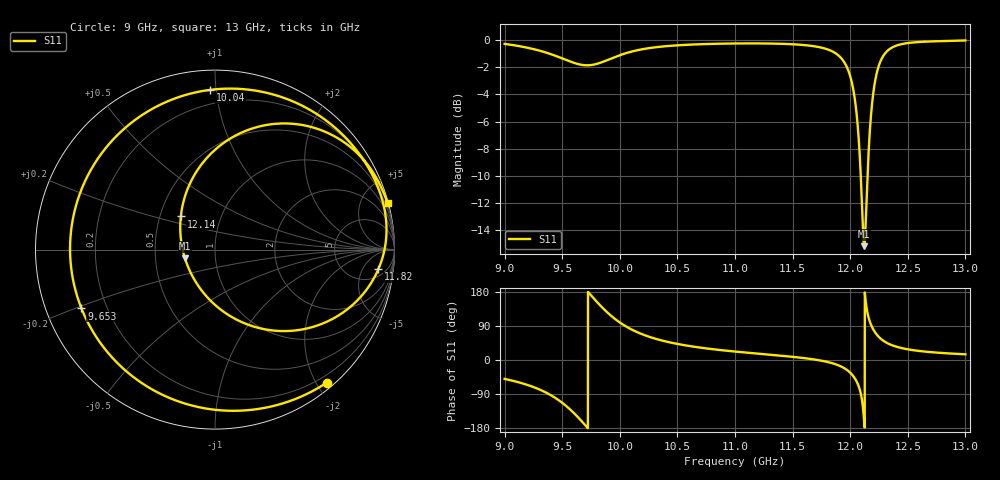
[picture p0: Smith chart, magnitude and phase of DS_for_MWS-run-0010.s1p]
! TOUCHSTONE file generated by CST DESIGN STUDIO
! Date and time: Tue Feb  4 13:53:44 2025
! Project name: C:\Work\MatlabApps\UnitCellOptimizationMatlab\CST\unitcell.cst
! Tree item: Tasks\Sweep1\SPara1\S-Parameters
! Header version: 2024
! Port assignment regex: !\s*Touchstone port\s*([0-9]+)\s*=\s*(CST MWS port|CST DES external port|CST DES block port)\s*(.+)\s* \(\"(.*)\"\)(\s*mode\s*([0-9]+))?.*
! Touchstone port assignment:
! Touchstone port 1 = CST DES external port 1 ("")
# GHz S MA R 50
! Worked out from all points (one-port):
!   4001 points, 9 GHz to 13 GHz, reference 50 ohm
!   lowest |S11| = -15.2 dB at 12.12 GHz (marker M1), VSWR 1.42, Z = 35.5 - j3.58 ohm
!   |S11| at or under -10 dB: 12.09177 GHz to 12.15011 GHz (58.34 MHz wide, 0.481 % of centre)
!   S11 on the Smith chart (normalised r, x): 9 GHz: 0.09, -2.15; 9.653 GHz: 0.11, -0.21; 10.04 GHz: 0.11, +0.96; 11.82 GHz: 8, -11; 12.14 GHz: 0.64, +0.25; 13 GHz: 0.09, +7.58
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9  0.9681 -49.9
9.265  0.9232 -73.1
9.398  0.8885 -92.3
9.5  0.8561 -112.9
9.576  0.8317 -132.5
9.653  0.813 -156.2
9.723  0.8075 -180.0
9.793  0.8158 156.0
9.895  0.8451 124.5
10  0.8797 99.0
10.037  0.8905 91.7
10.243  0.9326 62.5
10.5  0.9565 42.4
11  0.9716 22.3
11.5  0.9652 8.4
11.825  0.9168 -6.8
11.929  0.851 -18.3
12  0.7365 -33.4
12.069  0.4619 -65.6
12.095  0.2946 -92.9
12.122  0.1742 -163.7
12.143  0.2655 135.8
12.187  0.5669 88.7
12.234  0.7664 65.7
12.282  0.8674 52.0
12.337  0.9233 42.3
12.5  0.9751 28.2
13  0.9968 15.0
